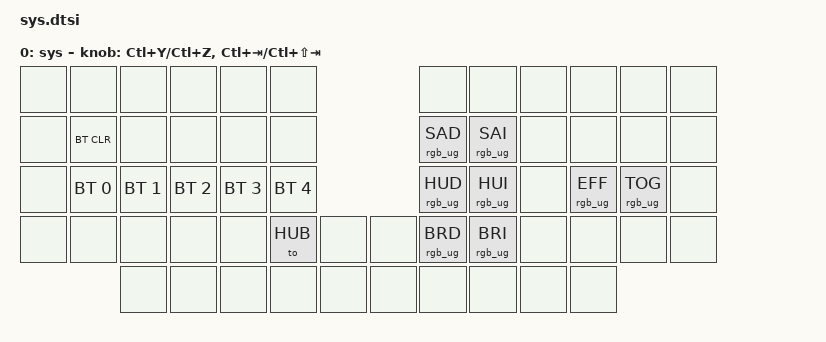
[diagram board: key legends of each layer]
/ {
    keymap {
        compatible = "zmk,keymap";
        
        sys {
            display-name = "sys";
            bindings = <
&none          &none          &none         &none         &none           &none                                         &none           &none           &none         &none           &none             &none
&none          &bt BT_CLR     &none         &none         &none           &none                                         &rgb_ug RGB_SAD &rgb_ug RGB_SAI &none         &none           &none             &none
&none          &bt BT_SEL 0   &bt BT_SEL 1  &bt BT_SEL 2  &bt BT_SEL 3    &bt BT_SEL 4                                  &rgb_ug RGB_HUD &rgb_ug RGB_HUI &none         &rgb_ug RGB_EFF &rgb_ug RGB_TOG   &none
&none          &none          &none         &none         &none           &to HUB          &none          &none         &rgb_ug RGB_BRD &rgb_ug RGB_BRI &none         &none           &none             &none 
                              &none         &none         &none           &none            &none          &none         &none           &none           &none         &none
            >;

            sensor-bindings = <&inc_dec_kp LC(Y) LC(Z) &inc_dec_kp LC(TAB) LC(LS(TAB))>;
        };
    };
};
